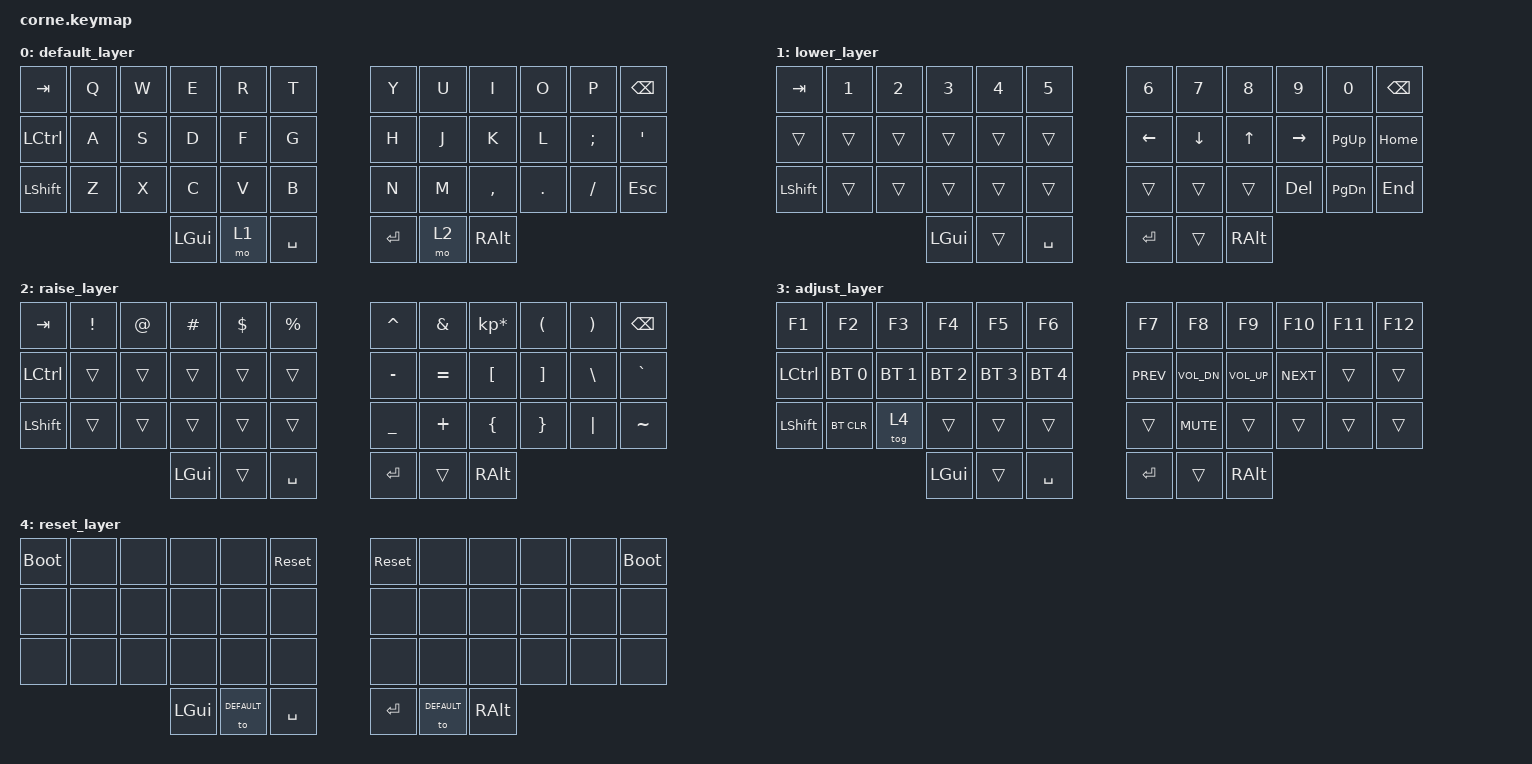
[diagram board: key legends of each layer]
/*
 * Copyright (c) 2020 The ZMK Contributors
 *
 * SPDX-License-Identifier: MIT
 */

#include <behaviors.dtsi>
#include <dt-bindings/zmk/keys.h>
#include <dt-bindings/zmk/bt.h>

// Layer definitions
#define DEFAULT 0
#define LOWER   1
#define RAISE   2
#define ADJUST  3

/ {
    conditional_layers {
        compatible = "zmk,conditional-layers";
        tri_layer {
            if-layers = <LOWER RAISE>;
            then-layer = <ADJUST>;
        };
    };
};


/ {
        keymap {
                compatible = "zmk,keymap";

                default_layer {
// -----------------------------------------------------------------------------------------
// |  TAB |  Q  |  W  |  E  |  R  |  T  |   |  Y  |  U   |  I  |  O  |  P  | BKSP |
// | CTRL |  A  |  S  |  D  |  F  |  G  |   |  H  |  J   |  K  |  L  |  ;  |  '   |
// | SHFT |  Z  |  X  |  C  |  V  |  B  |   |  N  |  M   |  ,  |  .  |  /  | ESC  |
//                    | GUI | LWR | SPC |   | ENT | RSE  | ALT |
                        bindings = <
   &kp TAB   &kp Q &kp W &kp E &kp R &kp T   &kp Y &kp U  &kp I     &kp O   &kp P    &kp BSPC
   &kp LCTRL &kp A &kp S &kp D &kp F &kp G   &kp H &kp J  &kp K     &kp L   &kp SEMI &kp SQT
   &kp LSHFT &kp Z &kp X &kp C &kp V &kp B   &kp N &kp M  &kp COMMA &kp DOT &kp FSLH &kp ESC
                  &kp LGUI &mo 1 &kp SPACE   &kp RET &mo 2 &kp RALT
                        >;
                };
                lower_layer {
// -----------------------------------------------------------------------------------------
// |  TAB |  1  |  2  |  3  |  4  |  5  |   |  6  |  7  |  8  |  9  |   0   | BKSP |
// |      |     |     |     |     |     |   | LFT | DWN |  UP | RGT | PG_UP | HOME |
// | SHFT |     |     |     |     |     |   |     |     |     | DEL | PG_DN |  END |
//                    | GUI |     | SPC |   | ENT |     | ALT |
                        bindings = <
   &kp TAB    &kp N1  &kp N2  &kp N3  &kp N4  &kp N5         &kp N6   &kp N7   &kp N8 &kp N9    &kp N0    &kp BSPC
   &trans     &trans  &trans  &trans  &trans  &trans         &kp LEFT &kp DOWN &kp UP &kp RIGHT &kp PG_UP &kp HOME
   &kp LSHFT  &trans  &trans  &trans  &trans  &trans         &trans   &trans   &trans &kp DEL   &kp PG_DN &kp END
                           &kp LGUI   &trans  &kp SPACE   &kp RET  &trans   &kp RALT
                        >;
                };

                raise_layer {
// -----------------------------------------------------------------------------------------
// |  TAB |  !  |  @  |  #  |  $  |  %  |   |  ^  |  &  |  *  |  (  |  )  | BKSP |
// | CTRL |     |     |     |     |     |   |  -  |  =  |  [  |  ]  |  \  |  `   |
// | SHFT |     |     |     |     |     |   |  _  |  +  |  {  |  }  | "|" |  ~   |
//                    | GUI |     | SPC |   | ENT |     | ALT |
                        bindings = <
   &kp  TAB  &kp EXCL &kp AT &kp HASH &kp DLLR &kp PRCNT   &kp CARET &kp AMPS  &kp KP_MULTIPLY &kp LPAR &kp RPAR &kp BSPC
   &kp LCTRL &trans   &trans &trans   &trans   &trans      &kp MINUS &kp EQUAL &kp LBKT        &kp RBKT &kp BSLH &kp GRAVE
   &kp LSHFT &trans   &trans &trans   &trans   &trans      &kp UNDER &kp PLUS  &kp LBRC        &kp RBRC &kp PIPE &kp TILDE
                             &kp LGUI &trans   &kp SPACE   &kp RET   &trans    &kp RALT
                        >;
                };

                adjust_layer {
// -----------------------------------------------------------------------------------------
// |  F1  |   F2   | F3  | F4  | F5  | F6  |   | F7  |   F8   |   F9   | F10 | F11 |  F12 |
// | CTRL |   BT1  | BT2 | BT3 | BT4 | BT5 |   | PRV | VOL_DN | VOL_UP | NXT |     |      |
// | SHFT | BT_CLR | RST |     |     |     |   |     |  MUTE  |        |     |     |      |
//                       | GUI |     | SPC |   | ENT |     | ALT |
                        bindings = <
   &kp F1    &kp F2       &kp F3       &kp F4       &kp F5       &kp F6            &kp F7     &kp F8       &kp F9       &kp F10    &kp F11  &kp F12
   &kp LCTRL &bt BT_SEL 0 &bt BT_SEL 1 &bt BT_SEL 2 &bt BT_SEL 3 &bt BT_SEL 4      &kp C_PREV &kp C_VOL_DN &kp C_VOL_UP &kp C_NEXT &trans   &trans  
   &kp LSHFT &bt BT_CLR   &tog 4       &trans       &trans       &trans            &trans     &kp C_MUTE   &trans       &trans     &trans   &trans  
                                       &kp LGUI     &trans       &kp SPACE         &kp RET   &trans    &kp RALT
                        >;
                };

                reset_layer {
// -----------------------------------------------------------------------------------------
// | BTLDR |    |    |    |    | RESET |      | RESET |    |    |    |    | BTLDR |
// |       |    |    |    |    |       |      |       |    |    |    |    |       |
// |       |    |    |    |    |       |      |       |    |    |    |    |       |
// |       |    |    |    |    |       |      |       |    |    |    |    |       |
//                    | GUI | BASE | SPC |   | ENT | BASE | ALT |
                        bindings = <
   &bootloader  &none  &none  &none  &none  &sys_reset    &sys_reset  &none  &none  &none  &none  &bootloader  
   &none  &none  &none  &none  &none  &none         &none  &none  &none  &none  &none  &none  
   &none  &none  &none  &none  &none  &none         &none  &none  &none  &none  &none  &none  
              &kp LGUI  &to DEFAULT  &kp SPACE         &kp RET  &to DEFAULT  &kp RALT
                        >;
                };
        };
};

&nice_view_spi {
    cs-gpios = <&pro_micro 0 GPIO_ACTIVE_HIGH>;
};
